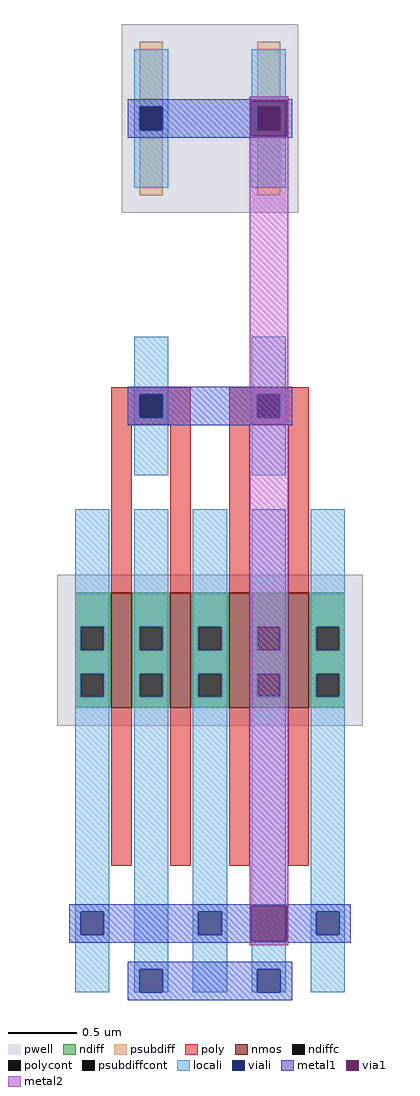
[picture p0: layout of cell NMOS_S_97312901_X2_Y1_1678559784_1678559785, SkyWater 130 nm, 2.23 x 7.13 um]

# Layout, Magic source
magic
tech sky130A
magscale 1 2
<< pwell >>
rect 215 1206 473 1482
rect 121 457 567 677
<< nmos >>
rect 200 483 230 651
rect 286 483 316 651
rect 372 483 402 651
rect 458 483 488 651
<< ndiff >>
rect 147 601 200 651
rect 147 567 155 601
rect 189 567 200 601
rect 147 533 200 567
rect 147 499 155 533
rect 189 499 200 533
rect 147 483 200 499
rect 230 601 286 651
rect 230 567 241 601
rect 275 567 286 601
rect 230 533 286 567
rect 230 499 241 533
rect 275 499 286 533
rect 230 483 286 499
rect 316 601 372 651
rect 316 567 327 601
rect 361 567 372 601
rect 316 533 372 567
rect 316 499 327 533
rect 361 499 372 533
rect 316 483 372 499
rect 402 601 458 651
rect 402 567 413 601
rect 447 567 458 601
rect 402 533 458 567
rect 402 499 413 533
rect 447 499 458 533
rect 402 483 458 499
rect 488 601 541 651
rect 488 567 499 601
rect 533 567 541 601
rect 488 533 541 567
rect 488 499 499 533
rect 533 499 541 533
rect 488 483 541 499
<< ndiffc >>
rect 155 567 189 601
rect 155 499 189 533
rect 241 567 275 601
rect 241 499 275 533
rect 327 567 361 601
rect 327 499 361 533
rect 413 567 447 601
rect 413 499 447 533
rect 499 567 533 601
rect 499 499 533 533
<< psubdiff >>
rect 241 1361 275 1456
rect 241 1232 275 1327
rect 413 1361 447 1456
rect 413 1232 447 1327
<< psubdiffcont >>
rect 241 1327 275 1361
rect 413 1327 447 1361
<< poly >>
rect 200 941 316 951
rect 200 907 241 941
rect 275 907 316 941
rect 200 897 316 907
rect 200 651 230 897
rect 286 651 316 897
rect 372 941 488 951
rect 372 907 413 941
rect 447 907 488 941
rect 372 897 488 907
rect 372 651 402 897
rect 458 651 488 897
rect 200 252 230 483
rect 286 252 316 483
rect 372 252 402 483
rect 458 252 488 483
<< polycont >>
rect 241 907 275 941
rect 413 907 447 941
<< locali >>
rect 233 1361 283 1445
rect 233 1327 241 1361
rect 275 1327 283 1361
rect 233 1243 283 1327
rect 405 1361 455 1445
rect 405 1327 413 1361
rect 447 1327 455 1361
rect 405 1243 455 1327
rect 233 941 283 1025
rect 233 907 241 941
rect 275 907 283 941
rect 233 823 283 907
rect 405 941 455 1025
rect 405 907 413 941
rect 447 907 455 941
rect 405 823 455 907
rect 147 601 197 773
rect 147 567 155 601
rect 189 567 197 601
rect 147 533 197 567
rect 147 499 155 533
rect 189 499 197 533
rect 147 185 197 499
rect 147 151 155 185
rect 189 151 197 185
rect 147 67 197 151
rect 233 601 283 773
rect 233 567 241 601
rect 275 567 283 601
rect 233 533 283 567
rect 233 499 241 533
rect 275 499 283 533
rect 233 101 283 499
rect 233 67 241 101
rect 275 67 283 101
rect 319 601 369 773
rect 319 567 327 601
rect 361 567 369 601
rect 319 533 369 567
rect 319 499 327 533
rect 361 499 369 533
rect 319 185 369 499
rect 319 151 327 185
rect 361 151 369 185
rect 319 67 369 151
rect 405 601 455 773
rect 405 567 413 601
rect 447 567 455 601
rect 405 533 455 567
rect 405 499 413 533
rect 447 499 455 533
rect 405 101 455 499
rect 405 67 413 101
rect 447 67 455 101
rect 491 601 541 773
rect 491 567 499 601
rect 533 567 541 601
rect 491 533 541 567
rect 491 499 499 533
rect 533 499 541 533
rect 491 185 541 499
rect 491 151 499 185
rect 533 151 541 185
rect 491 67 541 151
<< viali >>
rect 241 1327 275 1361
rect 413 1327 447 1361
rect 241 907 275 941
rect 413 907 447 941
rect 155 151 189 185
rect 241 67 275 101
rect 327 151 361 185
rect 413 67 447 101
rect 499 151 533 185
<< metal1 >>
rect 224 1370 464 1372
rect 224 1361 404 1370
rect 224 1327 241 1361
rect 275 1327 404 1361
rect 224 1318 404 1327
rect 456 1318 464 1370
rect 224 1316 464 1318
rect 224 941 464 952
rect 224 907 241 941
rect 275 907 413 941
rect 447 907 464 941
rect 224 896 464 907
rect 138 194 550 196
rect 138 185 404 194
rect 138 151 155 185
rect 189 151 327 185
rect 361 151 404 185
rect 138 142 404 151
rect 456 185 550 194
rect 456 151 499 185
rect 533 151 550 185
rect 456 142 550 151
rect 138 140 550 142
rect 224 101 464 112
rect 224 67 241 101
rect 275 67 413 101
rect 447 67 464 101
rect 224 56 464 67
<< via1 >>
rect 404 1361 456 1370
rect 404 1327 413 1361
rect 413 1327 447 1361
rect 447 1327 456 1361
rect 404 1318 456 1327
rect 404 142 456 194
<< metal2 >>
rect 402 1370 458 1376
rect 402 1318 404 1370
rect 456 1318 458 1370
rect 402 194 458 1318
rect 402 142 404 194
rect 456 142 458 194
rect 402 136 458 142
<< end >>
